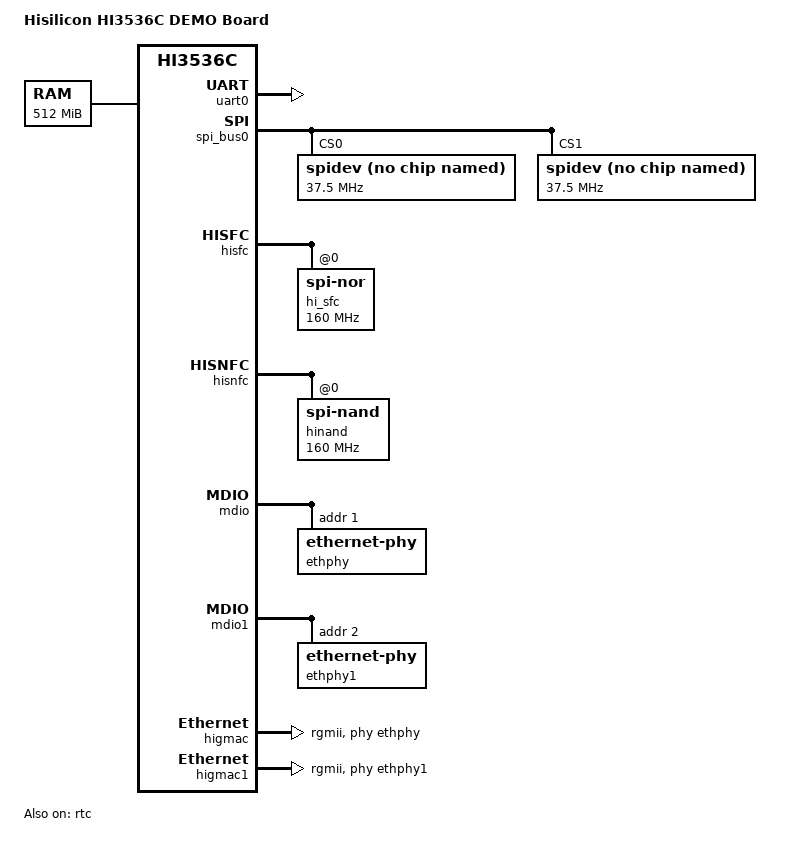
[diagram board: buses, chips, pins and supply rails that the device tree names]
/*
 * Copyright (c) 2013-2014 Linaro Ltd.
 * Copyright (c) 2015-2017 HiSilicon Technologies Co., Ltd.
 *
 * This program is free software; you can redistribute  it and/or modify it
 * under  the terms of  the GNU General  Public License as published by the
 * Free Software Foundation;  either version 2 of the  License, or (at your
 * option) any later version.
 *
 * This program is distributed in the hope that it will be useful,
 * but WITHOUT ANY WARRANTY; without even the implied warranty of
 * MERCHANTABILITY or FITNESS FOR A PARTICULAR PURPOSE. See the
 * GNU General Public License for more details.
 *
 * You should have received a copy of the GNU General Public License
 * along with this program.  If not, see <http://www.gnu.org/licenses/>.
 *
 */

/dts-v1/;
#include "hi3536c.dtsi"

/ {
	model = "Hisilicon HI3536C DEMO Board";
	compatible = "hisilicon,hi3536c";

	cpus {
		#address-cells = <1>;
		#size-cells = <0>;
		enable-method = "hisilicon,hi3536c-smp";

		cpu@0 {
			compatible = "arm,cortex-a7";
			device_type = "cpu";
			clock-frequency = <HI3536C_FIXED_1500M>;
			reg = <0>;
		};

		cpu@1 {
			compatible = "arm,cortex-a7";
			device_type = "cpu";
			clock-frequency = <HI3536C_FIXED_1500M>;
			reg = <1>;
		};
	};

	memory {
		device_type = "memory";
		reg = <0x80000000 0x20000000>;
	};
};

&uart0 {
	status = "okay";
};

&rtc {
	status = "okay";
};

&spi_bus0{
	status = "okay";
	num-cs = <2>;

	spidev@0 {
		compatible = "spidev";
		reg = <0>;
		pl022,interface = <0>;
		pl022,com-mode = <0>;
		spi-max-frequency = <37500000>;
	};

	spidev@1 {
		compatible = "spidev";
		reg = <1>;
		pl022,interface = <0>;
		pl022,com-mode = <0>;
		spi-max-frequency = <37500000>;
	};
};

&hisfc {
	hi_sfc {
		compatible = "jedec,spi-nor";
		reg = <0>;
		spi-max-frequency = <160000000>;
		m25p,fast-read;
	};
};

&hisnfc {
	hinand {
		compatible = "jedec,spi-nand";
		reg = <0>;
		spi-max-frequency = <160000000>;
	};
};

&hidmac {
    status = "okay";
};

&mdio {
	ethphy: ethernet-phy@1 {
		reg = <1>;
	};
};
&mdio1 {
	ethphy1: ethernet-phy@2 {
		reg = <2>;
	};
};

&higmac {
	phy-handle = <&ethphy>;
	phy-mode = "rgmii";
};
&higmac1 {
	phy-handle = <&ethphy1>;
	phy-mode = "rgmii";
};


&pmux {

	vo_vga_pmux: vo_vga_pmux{
		pinctrl-single,pins = <
			0x0174 0x1
			0x017c 0x1
			0x0180 0x1
		>;
	};

	vo_hdmi_pmux: vo_hdmi_pmux{
		pinctrl-single,pins = <
			0x0098 0x1
			0x009c 0X1
		>;
	};

	i2c0_pmux: i2c0_pmux {
		pinctrl-single,pins = <
			0x00e0 0x1
			0x00e4 0x1
		>;
	};
	
	i2s0_pmux: i2s0_pmux {
		pinctrl-single,pins = <
			0x00a0 0x1
			0x00a4 0x1
			0x00a8 0x1
		>;
	};

	i2s1_pmux: i2s1_pmux {
		pinctrl-single,pins = <
			0x00b0 0x1
			0x00b4 0x1
		>;
	};

	i2s2_sck_pmux: i2s2_sck_pmux {
		pinctrl-single,pins = <
			0x00b8 0x1
			0x00bc 0x1
			0x00c0 0x1
			0x00ac 0x2
		>;
	};
};

&sys_config_ctrl {
	padctrl-ability,demo = <
		0x120f08a0 0x120
		0x120f08a4 0x130
		0x120f08a8 0x130
		0x120f08ac 0x120
		0x120f08b0 0x130
		0x120f08b4 0x130
		0x120f08b8 0x120
		0x120f08bc 0x130
		0x120f08c0 0x130
		0x120f0898 0x40
		0x120f089c 0x40
	>;

	sysctrl-ddr,pins = <
		0x1212007c 0x35533201
		0x12120080 0x25335526
		0x12120084 0x66666666
		0x12120094 0x65
	>;

	pinctrl-names =  "demo", "sck", "default";
	pinctrl-0 = <&i2c0_pmux  &i2s1_pmux  &i2s2_sck_pmux &vo_hdmi_pmux &vo_vga_pmux>;
	pinctrl-1 = <&i2s0_pmux  &i2s1_pmux  &i2s2_sck_pmux &vo_hdmi_pmux &vo_vga_pmux>;
	pinctrl-2 = <>;
};
